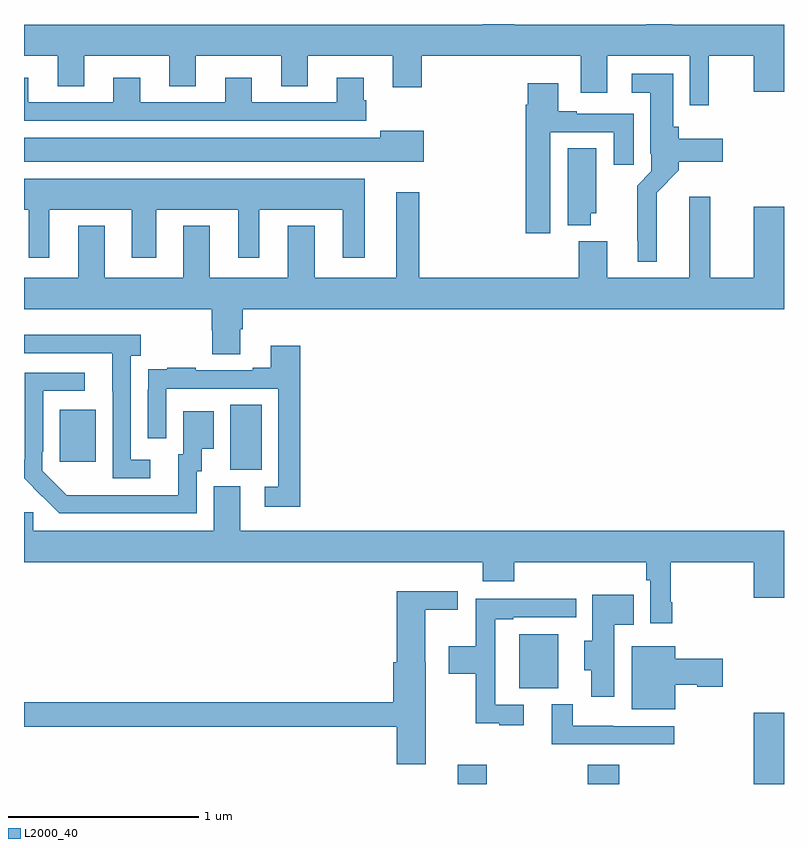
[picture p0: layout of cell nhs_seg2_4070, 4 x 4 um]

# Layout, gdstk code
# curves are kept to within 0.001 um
import gdstk
lib = gdstk.Library(unit=1e-6, precision=1e-09)
def R(c, l, rs):  # rectangles x0, y0, x1, y1
    for r in rs: c.add(gdstk.rectangle(r[:2], r[2:], *l))
def P(c, l, *ps):  # polygons
    for p in ps: c.add(gdstk.Polygon(p, *l))
L2000_40 = (2000, 40)

nhs_seg2_4070 = lib.new_cell('nhs_seg2_4070')
R(nhs_seg2_4070, L2000_40, [(331.283,647.8,331.436,647.902), (331.967,647.8,332.132,647.902), (332.84,647.8,333,648.175), (331.607,648.305,331.813,648.589), (330.086,649.453,330.25,649.796), (329.189,649.497,329.377,649.771)])
P(nhs_seg2_4070, L2000_40, [(332.604,651.632),(332.84,651.632),(332.84,651.444),(333,651.444),(333,651.796),(332.411,651.796),(332.411,651.8),(332.275,651.8),(332.275,651.796),(331.58,651.796),(331.58,651.8),(331.415,651.8),(331.415,651.796),(329,651.796),(329,651.632),(329.177,651.632),(329.177,651.472),(329.317,651.472),(329.317,651.632),(329.765,651.632),(329.765,651.472),(329.905,651.472),(329.905,651.632),(330.353,651.632),(330.353,651.472),(330.493,651.472),(330.493,651.632),(330.941,651.632),(330.941,651.468),(331.094,651.468),(331.094,651.632),(331.931,651.632),(331.931,651.438),(332.071,651.438),(332.071,651.632),(332.505,651.632),(332.505,651.372),(332.604,651.372)],
  [(332.329,650.912),(332.447,651.03),(332.447,651.074),(332.677,651.074),(332.677,651.196),(332.447,651.196),(332.447,651.258),(332.416,651.258),(332.416,651.538),(332.199,651.538),(332.199,651.437),(332.297,651.437),(332.297,651.118),(332.301,651.118),(332.301,651.024),(332.227,650.95),(332.227,650.659),(332.231,650.659),(332.231,650.549),(332.329,650.549)],
  [(330.8,651.399),(330.787,651.399),(330.787,651.517),(330.647,651.517),(330.647,651.387),(330.199,651.387),(330.199,651.517),(330.059,651.517),(330.059,651.387),(329.611,651.387),(329.611,651.517),(329.471,651.517),(329.471,651.387),(329.023,651.387),(329.023,651.517),(329,651.517),(329,651.291),(330.8,651.291)],
  [(331.771,651.231),(332.105,651.231),(332.105,651.06),(332.209,651.06),(332.209,651.327),(331.909,651.327),(331.909,651.34),(331.813,651.34),(331.813,651.487),(331.652,651.487),(331.652,651.374),(331.64,651.374),(331.64,650.7),(331.771,650.7)],
  [(331.105,651.238),(330.875,651.238),(330.875,651.202),(329,651.202),(329,651.074),(331.105,651.074)],
  [(331.984,650.805),(332.011,650.805),(332.011,651.146),(331.862,651.146),(331.862,650.741),(331.984,650.741)],
  [(329.134,650.822),(329.567,650.822),(329.567,650.571),(329.695,650.571),(329.695,650.822),(330.128,650.822),(330.128,650.571),(330.238,650.571),(330.238,650.822),(330.677,650.822),(330.677,650.571),(330.793,650.571),(330.793,650.986),(329,650.986),(329,650.822),(329.024,650.822),(329.024,650.571),(329.134,650.571)],
  [(330.139,650.194),(330.152,650.194),(330.152,650.3),(333,650.3),(333,650.839),(332.84,650.839),(332.84,650.464),(332.611,650.464),(332.611,650.89),(332.501,650.89),(332.501,650.464),(332.071,650.464),(332.071,650.656),(331.919,650.656),(331.919,650.464),(331.081,650.464),(331.081,650.914),(330.959,650.914),(330.959,650.464),(330.529,650.464),(330.529,650.737),(330.389,650.737),(330.389,650.464),(329.977,650.464),(329.977,650.737),(329.837,650.737),(329.837,650.464),(329.425,650.464),(329.425,650.737),(329.285,650.737),(329.285,650.464),(329,650.464),(329,650.3),(329.987,650.3),(329.987,650.187),(329.992,650.187),(329.992,650.062),(330.139,650.062)],
  [(329.665,649.506),(329.562,649.506),(329.562,650.054),(329.614,650.054),(329.614,650.164),(329,650.164),(329,650.067),(329.465,650.067),(329.465,649.867),(329.466,649.867),(329.466,649.41),(329.665,649.41)],
  [(330.455,650.107),(330.299,650.107),(330.299,649.99),(330.203,649.99),(330.203,649.977),(329.903,649.977),(329.903,649.99),(329.755,649.99),(329.755,649.983),(329.653,649.983),(329.653,649.874),(329.652,649.874),(329.652,649.62),(329.748,649.62),(329.748,649.881),(330.339,649.881),(330.339,649.365),(330.267,649.365),(330.267,649.26),(330.455,649.26)],
  [(329.91,649.446),(329.935,649.446),(329.935,649.565),(329.998,649.565),(329.998,649.762),(329.837,649.762),(329.837,649.536),(329.813,649.536),(329.813,649.32),(329.226,649.321),(329.097,649.449),(329.097,649.549),(329.1,649.549),(329.1,649.869),(329.32,649.869),(329.32,649.965),(329.004,649.965),(329.004,649.507),(329,649.507),(329,649.408),(329.186,649.224),(329.91,649.224)],
  [(332.411,648.757),(332.404,648.757),(332.404,648.968),(332.84,648.968),(332.84,648.78),(333,648.78),(333,649.132),(330.139,649.132),(330.139,649.368),(329.999,649.368),(329.999,649.132),(329.049,649.132),(329.049,649.23),(329,649.23),(329,648.968),(331.415,648.968),(331.415,648.866),(331.58,648.866),(331.58,648.968),(332.275,648.968),(332.275,648.872),(332.295,648.872),(332.295,648.645),(332.411,648.645)],
  [(331.114,648.441),(331.111,648.441),(331.111,648.716),(331.282,648.716),(331.282,648.814),(330.962,648.814),(330.962,648.441),(330.944,648.441),(330.944,648.23),(329,648.23),(329,648.102),(330.962,648.102),(330.962,647.904),(331.114,647.904)],
  [(332.107,648.638),(332.21,648.638),(332.21,648.796),(331.991,648.796),(331.991,648.555),(331.949,648.555),(331.949,648.4),(331.985,648.4),(331.985,648.258),(332.107,648.258)],
  [(331.63,648.216),(331.479,648.216),(331.479,648.666),(331.576,648.666),(331.576,648.678),(331.906,648.678),(331.906,648.776),(331.663,648.776),(331.663,648.774),(331.378,648.774),(331.378,648.526),(331.236,648.526),(331.236,648.379),(331.378,648.379),(331.378,648.119),(331.502,648.119),(331.502,648.108),(331.63,648.108)],
  [(332.428,648.323),(332.544,648.323),(332.544,648.311),(332.677,648.311),(332.677,648.458),(332.428,648.458),(332.428,648.526),(332.198,648.526),(332.198,648.194),(332.428,648.194)],
  [(332.422,648.105),(332.102,648.105),(332.102,648.106),(331.888,648.106),(331.888,648.22),(331.778,648.22),(331.778,648.009),(332.422,648.009)])

lib.write_gds('nhs_seg2_4070.gds')
